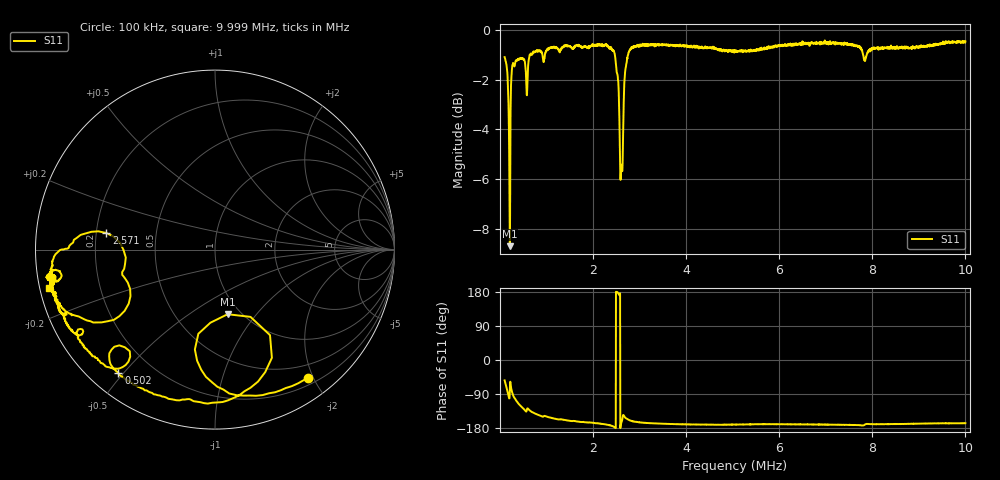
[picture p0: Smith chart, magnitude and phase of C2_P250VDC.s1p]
# HZ S RI R 50
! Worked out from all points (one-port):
!   2020 points, 100 kHz to 9.999 MHz, reference 50 ohm
!   lowest |S11| = -8.7 dB at 212.8 kHz (marker M1), VSWR 2.16, Z = 43.5 - j36.2 ohm
!   |S11| at or under -10 dB: nowhere
!   S11 on the Smith chart (normalised r, x): 100 kHz: 0.30, -1.93; 502 kHz: 0.08, -0.48; 2.571 MHz: 0.24, +0.07; 9.999 MHz: 0.03, -0.12
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100000  0.5205 -0.7126
139224  0.2662 -0.8105
163739  0.0794 -0.8017
212769  0.0702 -0.3601
261799  0.0706 -0.8407
305926  -0.1348 -0.8357
394180  -0.3644 -0.7943
502046  -0.5382 -0.6877
546173  -0.5885 -0.6115
614815  -0.5582 -0.6631
850159  -0.7525 -0.5045
1340459  -0.8492 -0.3623
2120036  -0.9132 -0.2043
2414216  -0.9081 -0.0925
2502470  -0.8342 0.00436
2571112  -0.6059 0.0926
2576015  -0.5652 0.0728
2625045  -0.4856 -0.1843
2693687  -0.7377 -0.3837
2762329  -0.835 -0.3421
2875098  -0.8852 -0.2806
3816474  -0.9173 -0.1716
5052030  -0.8927 -0.148
6287586  -0.9215 -0.1633
7528045  -0.9254 -0.1453
7851643  -0.8588 -0.1583
8763601  -0.9026 -0.1862
9999157  -0.9241 -0.2165
